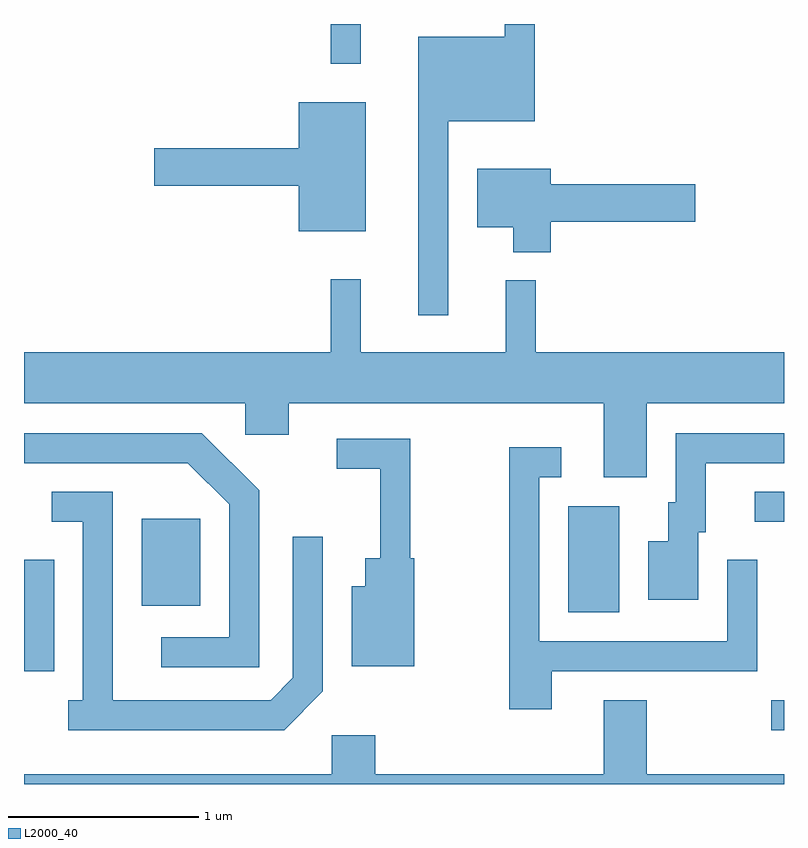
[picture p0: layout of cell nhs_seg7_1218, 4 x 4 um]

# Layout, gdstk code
import gdstk
lib = gdstk.Library(unit=1e-6, precision=1e-09)
def R(c, l, rs):  # rectangles x0, y0, x1, y1
    for r in rs: c.add(gdstk.rectangle(r[:2], r[2:], *l))
def P(c, l, *ps):  # polygons
    for p in ps: c.add(gdstk.Polygon(p, *l))
L2000_40 = (2000, 40)

nhs_seg7_1218 = lib.new_cell('nhs_seg7_1218')
R(nhs_seg7_1218, L2000_40, [(225.543,1772.536,225.611,1772.694), (221.611,1772.846,221.769,1773.433), (224.476,1773.156,224.744,1773.714), (222.231,1773.191,222.539,1773.649), (225.458,1773.631,225.611,1773.789), (223.226,1776.043,223.384,1776.252)])
P(nhs_seg7_1218, L2000_40, [(223.844,1775.741),(224.299,1775.741),(224.299,1776.252),(224.141,1776.252),(224.141,1776.184),(223.686,1776.184),(223.686,1774.718),(223.844,1774.718)],
  [(223.409,1775.839),(223.056,1775.839),(223.056,1775.599),(222.296,1775.599),(222.296,1775.401),(223.056,1775.401),(223.056,1775.161),(223.409,1775.161)],
  [(224.384,1775.211),(225.144,1775.211),(225.144,1775.409),(224.384,1775.409),(224.384,1775.489),(223.996,1775.489),(223.996,1775.181),(224.186,1775.181),(224.186,1775.051),(224.384,1775.051)],
  [(224.889,1774.256),(225.611,1774.256),(225.611,1774.524),(224.304,1774.524),(224.304,1774.903),(224.146,1774.903),(224.146,1774.524),(223.384,1774.524),(223.384,1774.908),(223.226,1774.908),(223.226,1774.524),(221.611,1774.524),(221.611,1774.256),(222.776,1774.256),(222.776,1774.091),(223.004,1774.091),(223.004,1774.256),(224.661,1774.256),(224.661,1773.866),(224.889,1773.866)],
  [(222.849,1773.797),(222.547,1774.099),(221.611,1774.099),(221.611,1773.941),(222.474,1773.941),(222.691,1773.724),(222.691,1773.024),(222.333,1773.024),(222.333,1772.866),(222.849,1772.866)],
  [(225.159,1773.576),(225.199,1773.576),(225.199,1773.941),(225.611,1773.941),(225.611,1774.099),(225.041,1774.099),(225.041,1773.734),(225.001,1773.734),(225.001,1773.529),(224.896,1773.529),(224.896,1773.221),(225.159,1773.221)],
  [(223.664,1773.439),(223.644,1773.439),(223.644,1774.069),(223.258,1774.069),(223.258,1773.911),(223.486,1773.911),(223.486,1773.439),(223.406,1773.439),(223.406,1773.294),(223.336,1773.294),(223.336,1772.871),(223.664,1772.871)],
  [(224.389,1772.846),(225.469,1772.846),(225.469,1773.433),(225.311,1773.433),(225.311,1773.004),(224.324,1773.004),(224.324,1773.866),(224.438,1773.866),(224.438,1774.024),(224.166,1774.024),(224.166,1772.646),(224.389,1772.646)],
  [(223.184,1772.739),(223.184,1773.553),(223.026,1773.553),(223.026,1772.812),(222.909,1772.694),(222.079,1772.694),(222.079,1773.789),(221.758,1773.789),(221.758,1773.631),(221.921,1773.631),(221.921,1772.694),(221.843,1772.694),(221.843,1772.536),(222.982,1772.536)],
  [(225.611,1772.304),(224.889,1772.304),(224.889,1772.694),(224.661,1772.694),(224.661,1772.304),(223.459,1772.304),(223.459,1772.509),(223.231,1772.509),(223.231,1772.304),(221.611,1772.304),(221.611,1772.252),(225.611,1772.252)])

lib.write_gds('nhs_seg7_1218.gds')
